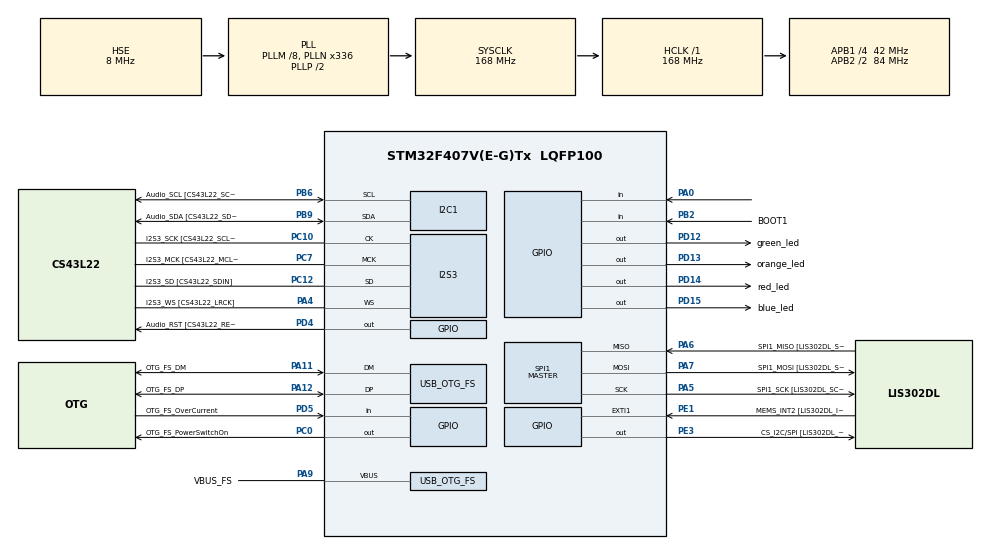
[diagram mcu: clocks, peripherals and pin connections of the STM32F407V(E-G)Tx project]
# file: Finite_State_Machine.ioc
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I2S3.AudioFreq-Half_Duplex_Master=I2S_AUDIOFREQ_96K
I2S3.ErrorAudioFreq=-2.34 %
I2S3.ErrorAudioFreq-Half_Duplex_Master=0.8 %
I2S3.FullDuplexMode=I2S_FULLDUPLEXMODE_DISABLE
I2S3.Instance=SPI$Index
I2S3.RealAudioFreq=93.75 KHz
I2S3.RealAudioFreq-Half_Duplex_Master=96.774 KHz
I2S3.VirtualMode=I2S_MODE_MASTER
Mcu.Family=STM32F4
Mcu.Name=STM32F407V(E-G)Tx
Mcu.Package=LQFP100
NVIC.OTG_FS_IRQn=true\:0\:0\:false\:false\:true\:true\:true\:true
NVIC.PriorityGroup=NVIC_PRIORITYGROUP_0
PA0-WKUP.Signal=GPIO_Input
PA10.GPIO_Label=OTG_FS_ID
PA10.GPIO_Mode=GPIO_MODE_AF_PP
PA10.GPIO_PuPd=GPIO_NOPULL
PA10.GPIO_Speed=GPIO_SPEED_FREQ_LOW
PA10.Signal=USB_OTG_FS_ID
PA11.GPIO_Label=OTG_FS_DM
PA11.GPIO_Mode=GPIO_MODE_AF_PP
PA11.GPIO_PuPd=GPIO_NOPULL
PA11.GPIO_Speed=GPIO_SPEED_FREQ_LOW
PA11.Mode=Host_Only
PA11.Signal=USB_OTG_FS_DM
PA12.GPIO_Label=OTG_FS_DP
PA12.GPIO_Mode=GPIO_MODE_AF_PP
PA12.GPIO_PuPd=GPIO_NOPULL
PA12.GPIO_Speed=GPIO_SPEED_FREQ_LOW
PA12.Mode=Host_Only
PA12.Signal=USB_OTG_FS_DP
PA13.GPIO_Label=SWDIO
PA13.Mode=Serial_Wire
PA13.Signal=SYS_JTMS-SWDIO
PA14.GPIO_Label=SWCLK
PA14.Mode=Serial_Wire
PA14.Signal=SYS_JTCK-SWCLK
PA4.GPIO_Label=I2S3_WS [CS43L22_LRCK]
PA4.GPIO_Mode=GPIO_MODE_AF_PP
PA4.GPIO_PuPd=GPIO_NOPULL
PA4.GPIO_Speed=GPIO_SPEED_FREQ_LOW
PA4.Mode=Half_Duplex_Master
PA4.Signal=I2S3_WS
PA5.GPIO_Label=SPI1_SCK [LIS302DL_SCL/SPC]
PA5.GPIO_Mode=GPIO_MODE_AF_PP
PA5.GPIO_PuPd=GPIO_NOPULL
PA5.GPIO_Speed=GPIO_SPEED_FREQ_LOW
PA5.Mode=Full_Duplex_Master
PA5.Signal=SPI1_SCK
PA6.GPIO_Label=SPI1_MISO [LIS302DL_SDO]
PA6.GPIO_Mode=GPIO_MODE_AF_PP
PA6.GPIO_PuPd=GPIO_NOPULL
PA6.GPIO_Speed=GPIO_SPEED_FREQ_LOW
PA6.Mode=Full_Duplex_Master
PA6.Signal=SPI1_MISO
PA7.GPIO_Label=SPI1_MOSI [LIS302DL_SDA/SDI/SDO]
PA7.GPIO_Mode=GPIO_MODE_AF_PP
PA7.GPIO_PuPd=GPIO_NOPULL
PA7.GPIO_Speed=GPIO_SPEED_FREQ_LOW
PA7.Mode=Full_Duplex_Master
PA7.Signal=SPI1_MOSI
PA9.GPIO_Label=VBUS_FS
PA9.GPIO_Mode=GPIO_MODE_INPUT
PA9.GPIO_PuPd=GPIO_NOPULL
PA9.Mode=Activate_VBUS
PA9.Signal=USB_OTG_FS_VBUS
PB10.GPIO_Label=CLK_IN [MP45DT02_CLK]
PB10.GPIO_Mode=GPIO_MODE_AF_PP
PB10.GPIO_PuPd=GPIO_NOPULL
PB10.GPIO_Speed=GPIO_SPEED_FREQ_LOW
PB10.Signal=I2S2_CK
PB2.GPIO_Label=BOOT1
PB2.GPIO_Mode=GPIO_MODE_INPUT
PB2.GPIO_PuPd=GPIO_NOPULL
PB2.Signal=GPIO_Input
PB3.GPIO_Label=SWO
PB3.Signal=SYS_JTDO-SWO
PB6.GPIO_Label=Audio_SCL [CS43L22_SCL]
PB6.GPIO_Mode=GPIO_MODE_AF_OD
PB6.GPIO_Pu=GPIO_PULLUP
PB6.GPIO_PuPd=GPIO_NOPULL
PB6.GPIO_Speed=GPIO_SPEED_FREQ_LOW
PB6.Mode=I2C
PB6.Signal=I2C1_SCL
PB9.GPIO_Label=Audio_SDA [CS43L22_SDA]
PB9.GPIO_Mode=GPIO_MODE_AF_OD
PB9.GPIO_Pu=GPIO_PULLUP
PB9.GPIO_PuPd=GPIO_NOPULL
PB9.GPIO_Speed=GPIO_SPEED_FREQ_LOW
PB9.Mode=I2C
PB9.Signal=I2C1_SDA
PC0.GPIO_Label=OTG_FS_PowerSwitchOn
PC0.GPIO_PuPd=GPIO_NOPULL
PC0.GPIO_Speed=GPIO_SPEED_FREQ_LOW
PC0.PinState=GPIO_PIN_SET
PC0.Signal=GPIO_Output
PC10.GPIO_Label=I2S3_SCK [CS43L22_SCLK]
PC10.GPIO_Mode=GPIO_MODE_AF_PP
PC10.GPIO_PuPd=GPIO_NOPULL
PC10.GPIO_Speed=GPIO_SPEED_FREQ_LOW
PC10.Mode=Half_Duplex_Master
PC10.Signal=I2S3_CK
PC12.GPIO_Label=I2S3_SD [CS43L22_SDIN]
PC12.GPIO_Mode=GPIO_MODE_AF_PP
PC12.GPIO_PuPd=GPIO_NOPULL
PC12.GPIO_Speed=GPIO_SPEED_FREQ_LOW
PC12.Mode=Half_Duplex_Master
PC12.Signal=I2S3_SD
PC14-OSC32_IN.GPIO_Label=PC14-OSC32_IN
PC14-OSC32_IN.Mode=LSE-External-Oscillator
PC14-OSC32_IN.Signal=RCC_OSC32_IN
PC15-OSC32_OUT.GPIO_Label=PC15-OSC32_OUT
PC15-OSC32_OUT.Mode=LSE-External-Oscillator
PC15-OSC32_OUT.Signal=RCC_OSC32_OUT
PC3.GPIO_Label=PDM_OUT [MP45DT02_DOUT]
PC3.GPIO_Mode=GPIO_MODE_AF_PP
PC3.GPIO_PuPd=GPIO_NOPULL
PC3.GPIO_Speed=GPIO_SPEED_FREQ_LOW
PC3.Signal=I2S2_SD
PC7.GPIO_Label=I2S3_MCK [CS43L22_MCLK]
PC7.GPIO_Mode=GPIO_MODE_AF_PP
PC7.GPIO_PuPd=GPIO_NOPULL
PC7.GPIO_Speed=GPIO_SPEED_FREQ_LOW
PC7.Mode=Master_Clock_Activated
PC7.Signal=I2S3_MCK
PD12.GPIO_Label=green_led
PD12.GPIO_PuPd=GPIO_NOPULL
PD12.GPIO_Speed=GPIO_SPEED_FREQ_LOW
PD12.Signal=GPIO_Output
PD13.GPIO_Label=orange_led
PD13.GPIO_PuPd=GPIO_NOPULL
PD13.GPIO_Speed=GPIO_SPEED_FREQ_LOW
PD13.Signal=GPIO_Output
PD14.GPIO_Label=red_led
PD14.GPIO_PuPd=GPIO_NOPULL
PD14.GPIO_Speed=GPIO_SPEED_FREQ_LOW
PD14.Signal=GPIO_Output
PD15.GPIO_Label=blue_led
PD15.GPIO_PuPd=GPIO_NOPULL
PD15.GPIO_Speed=GPIO_SPEED_FREQ_LOW
PD15.Signal=GPIO_Output
PD4.GPIO_Label=Audio_RST [CS43L22_RESET]
PD4.GPIO_PuPd=GPIO_NOPULL
PD4.GPIO_Speed=GPIO_SPEED_FREQ_LOW
PD4.Signal=GPIO_Output
PD5.GPIO_Label=OTG_FS_OverCurrent
PD5.GPIO_Mode=GPIO_MODE_INPUT
PD5.GPIO_PuPd=GPIO_NOPULL
PD5.Signal=GPIO_Input
PE1.GPIO_Label=MEMS_INT2 [LIS302DL_INT2]
PE1.GPIO_ModeDefaultEXTI=GPIO_MODE_EVT_RISING
PE1.GPIO_PuPd=GPIO_NOPULL
PE1.Signal=GPXTI1
PE3.GPIO_Label=CS_I2C/SPI [LIS302DL_CS_I2C/SPI]
PE3.GPIO_PuPd=GPIO_NOPULL
PE3.GPIO_Speed=GPIO_SPEED_FREQ_LOW
PE3.Signal=GPIO_Output
PH0-OSC_IN.GPIO_Label=PH0-OSC_IN
PH0-OSC_IN.Mode=HSE-External-Oscillator
PH0-OSC_IN.Signal=RCC_OSC_IN
PH1-OSC_OUT.GPIO_Label=PH1-OSC_OUT
PH1-OSC_OUT.Mode=HSE-External-Oscillator
PH1-OSC_OUT.Signal=RCC_OSC_OUT
ProjectManager.HeapSize=0x200
ProjectManager.StackSize=0x400
ProjectManager.TargetToolchain=STM32CubeIDE
RCC.48MHZClocksFreq_Value=48000000
RCC.AHBFreq_Value=168000000
RCC.APB1CLKDivider=RCC_HCLK_DIV4
RCC.APB1Freq_Value=42000000
RCC.APB1TimFreq_Value=84000000
RCC.APB2CLKDivider=RCC_HCLK_DIV2
RCC.APB2Freq_Value=84000000
RCC.APB2TimFreq_Value=168000000
RCC.CortexFreq_Value=168000000
RCC.HCLKFreq_Value=168000000
RCC.HSE_VALUE=8000000
RCC.HSI_VALUE=16000000
RCC.PLLM=8
RCC.PLLN=336
RCC.PLLQ=7
RCC.SYSCLKFreq_VALUE=168000000
RCC.SYSCLKSource=RCC_SYSCLKSOURCE_PLLCLK
RCC.VCOOutputFreq_Value=336000000
SPI1.BaudRatePrescaler-Full_Duplex_Master=SPI_BAUDRATEPRESCALER_2
SPI1.CalculateBaudRate-Full_Duplex_Master=42.0 MBits/s
SPI1.Direction=SPI_DIRECTION_2LINES
SPI1.Mode=SPI_MODE_MASTER
SPI1.Mode-Full_Duplex_Master=SPI_MODE_MASTER
SPI1.VirtualType=VM_MASTER
USB_HOST.BSP.number=1
USB_HOST.USBH_HandleTypeDef-CDC_FS=hUsbHostFS
USB_HOST.VirtualModeFS=Cdc
USB_HOST0.BSP.STBoard=false
USB_HOST0.BSP.api=Unknown
USB_HOST0.BSP.instance=PC0
USB_HOST0.BSP.ip=GPIO
USB_HOST0.BSP.mode=Output
USB_HOST0.BSP.name=Drive_VBUS_FS
USB_HOST0.BSP.solution=PC0
USB_OTG_FS.VirtualMode=Host_Only
USB_OTG_FS.phy_itface=HCD_PHY_EMBEDDED
VP_USB_HOST_VS_USB_HOST_CDC_FS.Mode=CDC_FS
board=STM32F407G-DISC1

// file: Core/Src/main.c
/* USER CODE BEGIN Header */
/**
  ******************************************************************************
  * @file           : main.c
  * @brief          : Main program body
  ******************************************************************************
  * @attention
  *
  * Copyright (c) 2026 STMicroelectronics.
  * All rights reserved.
  *
  * This software is licensed under terms that can be found in the LICENSE file
  * in the root directory of this software component.
  * If no LICENSE file comes with this software, it is provided AS-IS.
  *
  ******************************************************************************
  */
/* USER CODE END Header */
#include "main.h"
#include "usb_host.h"

/* USER CODE BEGIN PTD */
typedef void(*Action)(void);
typedef struct StateNode{
	Action execute;
	struct StateNode *next;
}StateNode;
/* USER CODE END PTD */

I2C_HandleTypeDef hi2c1;

I2S_HandleTypeDef hi2s3;

SPI_HandleTypeDef hspi1;

/* USER CODE BEGIN PV */
StateNode closed,in_line, flashing_light,flasher;
StateNode *current_action;
/* USER CODE END PV */

void SystemClock_Config(void);
static void MX_GPIO_Init(void);
static void MX_I2C1_Init(void);
static void MX_I2S3_Init(void);
static void MX_SPI1_Init(void);
void MX_USB_HOST_Process(void);

/* USER CODE BEGIN 0 */
void closed_action(){
	HAL_GPIO_WritePin(green_led_GPIO_Port,green_led_Pin,GPIO_PIN_RESET);
	HAL_GPIO_WritePin(orange_led_GPIO_Port,orange_led_Pin,GPIO_PIN_RESET);
	HAL_GPIO_WritePin(red_led_GPIO_Port,red_led_Pin,GPIO_PIN_RESET);
	HAL_GPIO_WritePin(blue_led_GPIO_Port,blue_led_Pin,GPIO_PIN_RESET);
}
void in_line_action(){
	HAL_GPIO_WritePin(green_led_GPIO_Port,green_led_Pin,GPIO_PIN_SET);
	HAL_Delay(300);
	HAL_GPIO_WritePin(green_led_GPIO_Port,green_led_Pin,GPIO_PIN_RESET);
	HAL_GPIO_WritePin(orange_led_GPIO_Port,orange_led_Pin,GPIO_PIN_SET);
	HAL_Delay(300);
	HAL_GPIO_WritePin(orange_led_GPIO_Port,orange_led_Pin,GPIO_PIN_RESET);
	HAL_GPIO_WritePin(red_led_GPIO_Port,red_led_Pin,GPIO_PIN_SET);
	HAL_Delay(300);
	HAL_GPIO_WritePin(red_led_GPIO_Port,red_led_Pin,GPIO_PIN_RESET);
	HAL_GPIO_WritePin(blue_led_GPIO_Port,blue_led_Pin,GPIO_PIN_SET);
	HAL_Delay(300);
	HAL_GPIO_WritePin(blue_led_GPIO_Port,blue_led_Pin,GPIO_PIN_RESET);
}

void flashing_light_action(){
	HAL_GPIO_WritePin(green_led_GPIO_Port,green_led_Pin,GPIO_PIN_SET);
	HAL_GPIO_WritePin(red_led_GPIO_Port,red_led_Pin,GPIO_PIN_SET);
	HAL_Delay(300);
	HAL_GPIO_WritePin(green_led_GPIO_Port,green_led_Pin,GPIO_PIN_RESET);
	HAL_GPIO_WritePin(red_led_GPIO_Port,red_led_Pin,GPIO_PIN_RESET);
	HAL_GPIO_WritePin(orange_led_GPIO_Port,orange_led_Pin,GPIO_PIN_SET);
	HAL_GPIO_WritePin(blue_led_GPIO_Port,blue_led_Pin,GPIO_PIN_SET);
	HAL_Delay(300);
	HAL_GPIO_WritePin(orange_led_GPIO_Port,orange_led_Pin,GPIO_PIN_RESET);
	HAL_GPIO_WritePin(blue_led_GPIO_Port,blue_led_Pin,GPIO_PIN_RESET);
}

void flasher_action(){
	HAL_GPIO_WritePin(green_led_GPIO_Port,green_led_Pin,GPIO_PIN_SET);
	HAL_GPIO_WritePin(orange_led_GPIO_Port,orange_led_Pin,GPIO_PIN_SET);
	HAL_GPIO_WritePin(red_led_GPIO_Port,red_led_Pin,GPIO_PIN_SET);
	HAL_GPIO_WritePin(blue_led_GPIO_Port,blue_led_Pin,GPIO_PIN_SET);
	HAL_Delay(100);
	HAL_GPIO_WritePin(green_led_GPIO_Port,green_led_Pin,GPIO_PIN_RESET);
	HAL_GPIO_WritePin(orange_led_GPIO_Port,orange_led_Pin,GPIO_PIN_RESET);
	HAL_GPIO_WritePin(red_led_GPIO_Port,red_led_Pin,GPIO_PIN_RESET);
	HAL_GPIO_WritePin(blue_led_GPIO_Port,blue_led_Pin,GPIO_PIN_RESET);
	HAL_Delay(100);
}

void init_state_machine(){
	closed.execute = closed_action;
	closed.next = &in_line;

	in_line.execute = in_line_action;
	in_line.next = &flashing_light;

	flashing_light.execute = flashing_light_action;
	flashing_light.next = &flasher;

	flasher.execute = flasher_action;
	flasher.next = &closed;
}

/* USER CODE END 0 */

int main(void)
{

  /* MCU Configuration--------------------------------------------------------*/

  /* Reset of all peripherals, Initializes the Flash interface and the Systick. */
  HAL_Init();

  /* Configure the system clock */
  SystemClock_Config();

  /* Initialize all configured peripherals */
  MX_GPIO_Init();
  MX_I2C1_Init();
  MX_I2S3_Init();
  MX_SPI1_Init();
  MX_USB_HOST_Init();
  /* USER CODE BEGIN 2 */
  init_state_machine();
  current_action = &closed;
  current_action ->execute();
  /* USER CODE END 2 */

  /* Infinite loop */
  while (1)
  {
    MX_USB_HOST_Process();

    /* USER CODE BEGIN 3 */
    current_action->execute();

    if(HAL_GPIO_ReadPin(GPIOA,GPIO_PIN_0) == 1){
    	HAL_Delay(50);
    	if(HAL_GPIO_ReadPin(GPIOA,GPIO_PIN_0) == 1){
    		current_action = current_action->next;
    		while(HAL_GPIO_ReadPin(GPIOA, GPIO_PIN_0) == GPIO_PIN_SET)
    		{

    		}
    	}
    }
  }
  /* USER CODE END 3 */
}

void SystemClock_Config(void)
{
  RCC_OscInitTypeDef RCC_OscInitStruct = {0};
  RCC_ClkInitTypeDef RCC_ClkInitStruct = {0};

  /** Configure the main internal regulator output voltage
  */
  __HAL_RCC_PWR_CLK_ENABLE();
  __HAL_PWR_VOLTAGESCALING_CONFIG(PWR_REGULATOR_VOLTAGE_SCALE1);

  /** Initializes the RCC Oscillators according to the specified parameters
  * in the RCC_OscInitTypeDef structure.
  */
  RCC_OscInitStruct.OscillatorType = RCC_OSCILLATORTYPE_HSE;
  RCC_OscInitStruct.HSEState = RCC_HSE_ON;
  RCC_OscInitStruct.PLL.PLLState = RCC_PLL_ON;
  RCC_OscInitStruct.PLL.PLLSource = RCC_PLLSOURCE_HSE;
  RCC_OscInitStruct.PLL.PLLM = 8;
  RCC_OscInitStruct.PLL.PLLN = 336;
  RCC_OscInitStruct.PLL.PLLP = RCC_PLLP_DIV2;
  RCC_OscInitStruct.PLL.PLLQ = 7;
  if (HAL_RCC_OscConfig(&RCC_OscInitStruct) != HAL_OK)
  {
    Error_Handler();
  }

  /** Initializes the CPU, AHB and APB buses clocks
  */
  RCC_ClkInitStruct.ClockType = RCC_CLOCKTYPE_HCLK|RCC_CLOCKTYPE_SYSCLK
                              |RCC_CLOCKTYPE_PCLK1|RCC_CLOCKTYPE_PCLK2;
  RCC_ClkInitStruct.SYSCLKSource = RCC_SYSCLKSOURCE_PLLCLK;
  RCC_ClkInitStruct.AHBCLKDivider = RCC_SYSCLK_DIV1;
  RCC_ClkInitStruct.APB1CLKDivider = RCC_HCLK_DIV4;
  RCC_ClkInitStruct.APB2CLKDivider = RCC_HCLK_DIV2;

  if (HAL_RCC_ClockConfig(&RCC_ClkInitStruct, FLASH_LATENCY_5) != HAL_OK)
  {
    Error_Handler();
  }
}

static void MX_I2C1_Init(void)
{

  hi2c1.Instance = I2C1;
  hi2c1.Init.ClockSpeed = 100000;
  hi2c1.Init.DutyCycle = I2C_DUTYCYCLE_2;
  hi2c1.Init.OwnAddress1 = 0;
  hi2c1.Init.AddressingMode = I2C_ADDRESSINGMODE_7BIT;
  hi2c1.Init.DualAddressMode = I2C_DUALADDRESS_DISABLE;
  hi2c1.Init.OwnAddress2 = 0;
  hi2c1.Init.GeneralCallMode = I2C_GENERALCALL_DISABLE;
  hi2c1.Init.NoStretchMode = I2C_NOSTRETCH_DISABLE;
  if (HAL_I2C_Init(&hi2c1) != HAL_OK)
  {
    Error_Handler();
  }

}

static void MX_I2S3_Init(void)
{

  hi2s3.Instance = SPI3;
  hi2s3.Init.Mode = I2S_MODE_MASTER_TX;
  hi2s3.Init.Standard = I2S_STANDARD_PHILIPS;
  hi2s3.Init.DataFormat = I2S_DATAFORMAT_16B;
  hi2s3.Init.MCLKOutput = I2S_MCLKOUTPUT_ENABLE;
  hi2s3.Init.AudioFreq = I2S_AUDIOFREQ_96K;
  hi2s3.Init.CPOL = I2S_CPOL_LOW;
  hi2s3.Init.ClockSource = I2S_CLOCK_PLL;
  hi2s3.Init.FullDuplexMode = I2S_FULLDUPLEXMODE_DISABLE;
  if (HAL_I2S_Init(&hi2s3) != HAL_OK)
  {
    Error_Handler();
  }

}

static void MX_SPI1_Init(void)
{

  /* SPI1 parameter configuration*/
  hspi1.Instance = SPI1;
  hspi1.Init.Mode = SPI_MODE_MASTER;
  hspi1.Init.Direction = SPI_DIRECTION_2LINES;
  hspi1.Init.DataSize = SPI_DATASIZE_8BIT;
  hspi1.Init.CLKPolarity = SPI_POLARITY_LOW;
  hspi1.Init.CLKPhase = SPI_PHASE_1EDGE;
  hspi1.Init.NSS = SPI_NSS_SOFT;
  hspi1.Init.BaudRatePrescaler = SPI_BAUDRATEPRESCALER_2;
  hspi1.Init.FirstBit = SPI_FIRSTBIT_MSB;
  hspi1.Init.TIMode = SPI_TIMODE_DISABLE;
  hspi1.Init.CRCCalculation = SPI_CRCCALCULATION_DISABLE;
  hspi1.Init.CRCPolynomial = 10;
  if (HAL_SPI_Init(&hspi1) != HAL_OK)
  {
    Error_Handler();
  }

}

static void MX_GPIO_Init(void)
{
  GPIO_InitTypeDef GPIO_InitStruct = {0};

  /* GPIO Ports Clock Enable */
  __HAL_RCC_GPIOE_CLK_ENABLE();
  __HAL_RCC_GPIOC_CLK_ENABLE();
  __HAL_RCC_GPIOH_CLK_ENABLE();
  __HAL_RCC_GPIOA_CLK_ENABLE();
  __HAL_RCC_GPIOB_CLK_ENABLE();
  __HAL_RCC_GPIOD_CLK_ENABLE();

  /*Configure GPIO pin Output Level */
  HAL_GPIO_WritePin(CS_I2C_SPI_GPIO_Port, CS_I2C_SPI_Pin, GPIO_PIN_RESET);

  /*Configure GPIO pin Output Level */
  HAL_GPIO_WritePin(OTG_FS_PowerSwitchOn_GPIO_Port, OTG_FS_PowerSwitchOn_Pin, GPIO_PIN_SET);

  /*Configure GPIO pin Output Level */
  HAL_GPIO_WritePin(GPIOD, green_led_Pin|orange_led_Pin|red_led_Pin|blue_led_Pin
                          |Audio_RST_Pin, GPIO_PIN_RESET);

  /*Configure GPIO pin : CS_I2C_SPI_Pin */
  GPIO_InitStruct.Pin = CS_I2C_SPI_Pin;
  GPIO_InitStruct.Mode = GPIO_MODE_OUTPUT_PP;
  GPIO_InitStruct.Pull = GPIO_NOPULL;
  GPIO_InitStruct.Speed = GPIO_SPEED_FREQ_LOW;
  HAL_GPIO_Init(CS_I2C_SPI_GPIO_Port, &GPIO_InitStruct);

  /*Configure GPIO pin : OTG_FS_PowerSwitchOn_Pin */
  GPIO_InitStruct.Pin = OTG_FS_PowerSwitchOn_Pin;
  GPIO_InitStruct.Mode = GPIO_MODE_OUTPUT_PP;
  GPIO_InitStruct.Pull = GPIO_NOPULL;
  GPIO_InitStruct.Speed = GPIO_SPEED_FREQ_LOW;
  HAL_GPIO_Init(OTG_FS_PowerSwitchOn_GPIO_Port, &GPIO_InitStruct);

  /*Configure GPIO pin : PDM_OUT_Pin */
  GPIO_InitStruct.Pin = PDM_OUT_Pin;
  GPIO_InitStruct.Mode = GPIO_MODE_AF_PP;
  GPIO_InitStruct.Pull = GPIO_NOPULL;
  GPIO_InitStruct.Speed = GPIO_SPEED_FREQ_LOW;
  GPIO_InitStruct.Alternate = GPIO_AF5_SPI2;
  HAL_GPIO_Init(PDM_OUT_GPIO_Port, &GPIO_InitStruct);

  /*Configure GPIO pin : PA0 */
  GPIO_InitStruct.Pin = GPIO_PIN_0;
  GPIO_InitStruct.Mode = GPIO_MODE_INPUT;
  GPIO_InitStruct.Pull = GPIO_NOPULL;
  HAL_GPIO_Init(GPIOA, &GPIO_InitStruct);

  /*Configure GPIO pin : BOOT1_Pin */
  GPIO_InitStruct.Pin = BOOT1_Pin;
  GPIO_InitStruct.Mode = GPIO_MODE_INPUT;
  GPIO_InitStruct.Pull = GPIO_NOPULL;
  HAL_GPIO_Init(BOOT1_GPIO_Port, &GPIO_InitStruct);

  /*Configure GPIO pin : CLK_IN_Pin */
  GPIO_InitStruct.Pin = CLK_IN_Pin;
  GPIO_InitStruct.Mode = GPIO_MODE_AF_PP;
  GPIO_InitStruct.Pull = GPIO_NOPULL;
  GPIO_InitStruct.Speed = GPIO_SPEED_FREQ_LOW;
  GPIO_InitStruct.Alternate = GPIO_AF5_SPI2;
  HAL_GPIO_Init(CLK_IN_GPIO_Port, &GPIO_InitStruct);

  /*Configure GPIO pins : green_led_Pin orange_led_Pin red_led_Pin blue_led_Pin
                           Audio_RST_Pin */
  GPIO_InitStruct.Pin = green_led_Pin|orange_led_Pin|red_led_Pin|blue_led_Pin
                          |Audio_RST_Pin;
  GPIO_InitStruct.Mode = GPIO_MODE_OUTPUT_PP;
  GPIO_InitStruct.Pull = GPIO_NOPULL;
  GPIO_InitStruct.Speed = GPIO_SPEED_FREQ_LOW;
  HAL_GPIO_Init(GPIOD, &GPIO_InitStruct);

  /*Configure GPIO pin : OTG_FS_OverCurrent_Pin */
  GPIO_InitStruct.Pin = OTG_FS_OverCurrent_Pin;
  GPIO_InitStruct.Mode = GPIO_MODE_INPUT;
  GPIO_InitStruct.Pull = GPIO_NOPULL;
  HAL_GPIO_Init(OTG_FS_OverCurrent_GPIO_Port, &GPIO_InitStruct);

  /*Configure GPIO pin : MEMS_INT2_Pin */
  GPIO_InitStruct.Pin = MEMS_INT2_Pin;
  GPIO_InitStruct.Mode = GPIO_MODE_EVT_RISING;
  GPIO_InitStruct.Pull = GPIO_NOPULL;
  HAL_GPIO_Init(MEMS_INT2_GPIO_Port, &GPIO_InitStruct);

}

void Error_Handler(void)
{
  __disable_irq();
  while (1)
  {
  }
}
